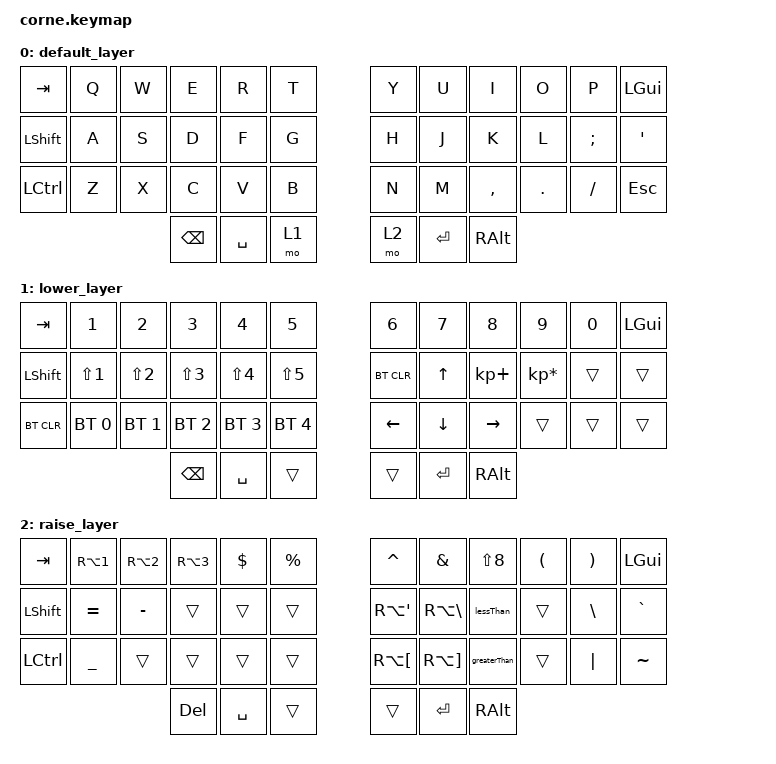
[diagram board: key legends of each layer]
/*
 * Copyright (c) 2020 The ZMK Contributors
 *
 * SPDX-License-Identifier: MIT
 */

#include <behaviors.dtsi>
#include <dt-bindings/zmk/keys.h>
#include <dt-bindings/zmk/bt.h>

/ {
        macros {
                lessThan: lessThan 
                        {
                        label = "lessThan";
                        compatible = "zmk,behavior-macro";
                        #binding-cells = <0>;
                        bindings
                                = <&macro_press &kp LALT>
                                , <&macro_tap &kp KP_N6 &kp KP_N0 >
                                , <&macro_release &kp LALT>
                                ;
                        };
                greaterThan: greaterThan 
                        {
                        label = "greaterThan";
                        compatible = "zmk,behavior-macro";
                        #binding-cells = <0>;
                        bindings
                                = <&macro_press &kp LALT>
                                , <&macro_tap &kp KP_N6 &kp KP_N2 >
                                , <&macro_release &kp LALT>
                                ;
                        };
        };

        keymap {
                compatible = "zmk,keymap";

                default_layer {
// -----------------------------------------------------------------------------------------
// |  TAB |  Q  |  W  |  E  |  R  |  T  |   |  Y  |  U   |  I  |  O  |  P  | GUI |
// | SHFT |  A  |  S  |  D  |  F  |  G  |   |  H  |  J   |  K  |  L  |  ñ  |  '   |
// | CTRL |  Z  |  X  |  C  |  V  |  B  |   |  N  |  M   |  ,  |  .  |  /  | ESC  |
//                    | BKSP | SPC | LWR |   | RSE | ENT  | ALT |
                        bindings = <
   &kp TAB   &kp Q &kp W &kp E &kp R &kp T   &kp Y &kp U  &kp I     &kp O   &kp P    &kp LGUI
   &kp LSHFT &kp A &kp S &kp D &kp F &kp G   &kp H &kp J  &kp K     &kp L   &kp SEMI &kp SQT
   &kp LCTRL &kp Z &kp X &kp C &kp V &kp B   &kp N &kp M  &kp COMMA &kp DOT &kp FSLH &kp ESC
                  &kp BSPC &kp SPACE &mo 1   &mo 2 &kp RET &kp RALT
                        >;
                };
                lower_layer {
// -----------------------------------------------------------------------------------------
// |  TAB |  1  |  2  |  3  |  4  |  5  |   |  6  |  7  |  8  |  9  |  0  | GUI |
// | SHFT |  !  |  "  |  ·  |  $  |  %  |   |BTCLR| UP  |  +  |  *  |     |     |
// |BTCLR | BT1 | BT2 | BT3 | BT4 | BT5 |   | LFT | DWN | RGT |     |     |     |
//                    | BKSP| SPC |     |   |     | ENT | ALT |
                        bindings = <
   &kp TAB      &kp N1       &kp N2             &kp N3       &kp N4             &kp N5                  &kp N6          &kp N7          &kp N8          &kp N9           &kp N0   &kp LGUI
   &kp LSHFT    &kp LS(N1)   &kp LS(N2)         &kp LS(N3)   &kp LS(N4)         &kp LS(N5)              &bt BT_CLR          &kp UP          &kp KP_PLUS     &kp KP_MULTIPLY  &trans   &trans
   &bt BT_CLR   &bt BT_SEL 0 &bt BT_SEL 1       &bt BT_SEL 2 &bt BT_SEL 3       &bt BT_SEL 4            &kp LEFT        &kp DOWN        &kp RIGHT       &trans           &trans   &trans
                          	                &kp BSPC     &kp SPACE          &trans                  &trans          &kp RET         &kp RALT
                        >;
                };

                raise_layer {
// -----------------------------------------------------------------------------------------
// |  TAB |  |  |  @  |  #  |  $  |  %  |   |  &  |  /  |  (  |  )  |  =  | GUI |
// | CTRL |  ¡  |  '  |     |     |     |   |  {  |  }  |  <  |     |  ç  |  º  |
// | SHFT |     |     |     |     |     |   |  [  |  ]  |  >  |     | Ç   |  ª  |
//                    | GUI |     | SPC |   | ENT |     | ALT |
                        bindings = <
   &kp  TAB    &kp RA(N1)  &kp RA(N2)  &kp RA(N3)  &kp DLLR  &kp PRCNT     &kp CARET      &kp AMPS      &kp LS(N8)  &kp LPAR  &kp RPAR   &kp LGUI
   &kp LSHFT   &kp EQUAL  &kp MINUS  &trans     &trans    &trans        &kp RA(SQT)    &kp RA(BSLH)  &lessThan       &trans    &kp BSLH   &kp GRAVE
   &kp LCTRL   &kp UNDER     &trans     &trans     &trans    &trans        &kp RA(LBKT)   &kp RA(RBKT)  &greaterThan     &trans    &kp PIPE   &kp TILDE
                    	                  &kp DEL      &kp SPACE    &trans          &trans          &kp RET        &kp RALT
                        >;
                };
        };
};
